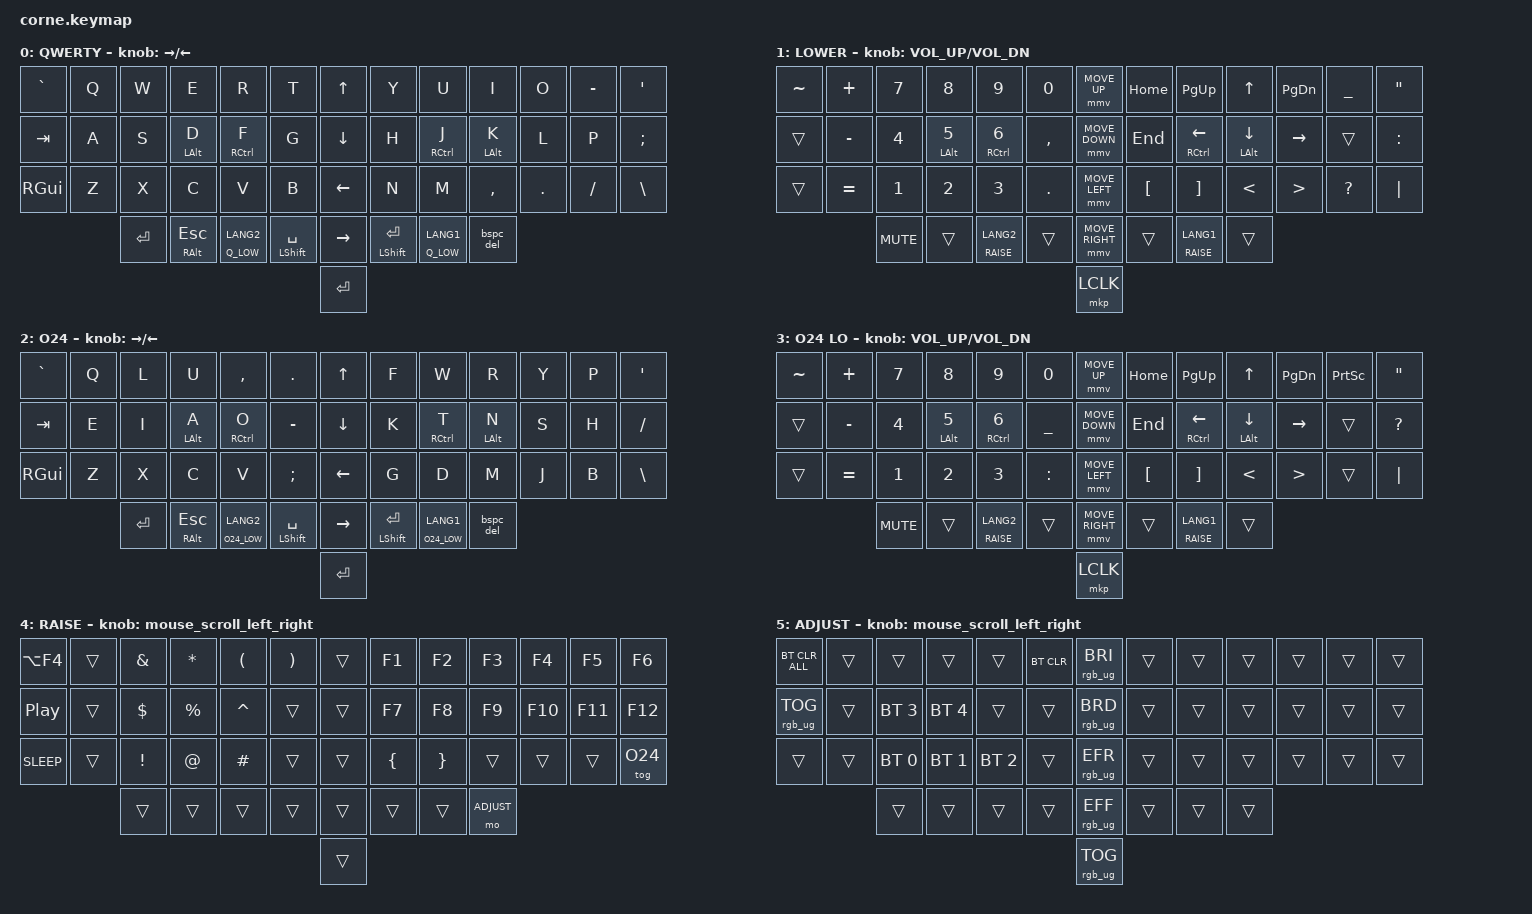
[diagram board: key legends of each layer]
#include <behaviors/mouse_keys.dtsi>
#include <behaviors.dtsi>
#include <dt-bindings/zmk/bt.h>
#include <dt-bindings/zmk/keys.h>
#include <dt-bindings/zmk/pointing.h>
#include <dt-bindings/zmk/pointing.h>
#include <dt-bindings/zmk/pointing.h>
#include <dt-bindings/zmk/rgb.h>

#define ZMK_POINTING_DEFAULT_MOVE_VAL 1500  // default: 600
#define ZMK_POINTING_DEFAULT_SCRL_VAL 20    // default: 10
#define QWERTY  0
#define Q_LOW   1
#define O24     2
#define O24_LOW 3
#define RAISE   4
#define ADJUST  5

&msc {
    time-to-max-speed-ms = <100>;
    acceleration-exponent = <1>;
};

/ {
    behaviors {
        hm: homerow_mods {
            compatible = "zmk,behavior-hold-tap";
            #binding-cells = <2>;
            tapping-term-ms = <180>;
            quick-tap-ms = <180>;
            flavor = "balanced";
            bindings = <&kp>, <&kp>;
        };

        bspc_del: backspace_delete {
            compatible = "zmk,behavior-mod-morph";
            #binding-cells = <0>;
            bindings = <&kp BACKSPACE>, <&kp DELETE>;

            mods = <(MOD_LSFT|MOD_RSFT)>;
        };

        tdquit: tap_dance_quit {
            compatible = "zmk,behavior-tap-dance";
            label = "TD";
            #binding-cells = <0>;
            bindings = <&kp TILDE>, <&kp LA(F4)>;

            tapping-term-ms = <180>;
        };

        mouse_scroll_left_right: mouse_scroll_left_right {
            compatible = "zmk,behavior-sensor-rotate";
            label = "MOUSE_SCROLL_LEFT_RIGHT";
            #sensor-binding-cells = <0>;
            bindings = <&msc SCRL_RIGHT>, <&msc SCRL_LEFT>;
        };

        mouse_scroll_up_down: mouse_scroll_up_down {
            compatible = "zmk,behavior-sensor-rotate";
            label = "MOUSE_SCROLL_UP_DOWN";
            #sensor-binding-cells = <0>;
            bindings = <&msc SCRL_DOWN>, <&msc SCRL_UP>;
        };
    };

    keymap {
        compatible = "zmk,keymap";

        qwerty_layer {
            label = "QWERTY";
            display-name = "QWERTY";
            bindings = <
&kp GRAVE  &kp Q  &kp W       &kp E         &kp R            &kp T               &kp UP_ARROW     &kp Y             &kp U            &kp I       &kp O    &kp MINUS  &kp SQT
&kp TAB    &kp A  &kp S       &hm LALT D    &hm RCTRL F      &kp G               &kp DOWN_ARROW   &kp H             &hm RCTRL J      &hm LALT K  &kp L    &kp P      &kp SEMI
&kp RGUI   &kp Z  &kp X       &kp C         &kp V            &kp B               &kp LEFT_ARROW   &kp N             &kp M            &kp COMMA   &kp DOT  &kp FSLH   &kp BSLH
                  &kp RETURN  &hm RALT ESC  &lt Q_LOW LANG2  &hm LSHIFT SPACE    &kp RIGHT_ARROW  &hm LSHIFT ENTER  &lt Q_LOW LANG1  &bspc_del
                                                                                 &kp ENTER
            >;

            sensor-bindings = <&inc_dec_kp RIGHT LEFT>;
        };

        qwerty_lower_layer {
            label = "LOWER";
            display-name = "LOWER";
            bindings = <
&kp TILDE  &kp PLUS   &kp N7      &kp N8       &kp N9           &kp N0       &mmv MOVE_UP     &kp HOME  &kp PG_UP        &kp UP         &kp PG_DN  &kp UNDER  &kp DQT
&trans     &kp MINUS  &kp N4      &hm LALT N5  &hm RCTRL N6     &kp COMMA    &mmv MOVE_DOWN   &kp END   &hm RCTRL LEFT   &hm LALT DOWN  &kp RIGHT  &trans     &kp COLON
&trans     &kp EQUAL  &kp N1      &kp N2       &kp N3           &kp DOT      &mmv MOVE_LEFT   &kp LBKT  &kp RBKT         &kp LT         &kp GT     &kp QMARK  &kp PIPE
                      &kp C_MUTE  &trans       &lt RAISE LANG2  &trans       &mmv MOVE_RIGHT  &trans    &lt RAISE LANG1  &trans
                                                                             &mkp LCLK
            >;

            sensor-bindings = <&inc_dec_kp C_VOL_UP C_VOL_DN>;
        };

        o24_layer {
            label = "O24";
            display-name = "O24";
            bindings = <
&kp GRAVE  &kp Q  &kp L       &kp U         &kp COMMA          &kp DOT             &kp UP_ARROW     &kp F             &kp W              &kp R       &kp Y  &kp P  &kp SQT
&kp TAB    &kp E  &kp I       &hm LALT A    &hm RCTRL O        &kp MINUS           &kp DOWN_ARROW   &kp K             &hm RCTRL T        &hm LALT N  &kp S  &kp H  &kp FSLH
&kp RGUI   &kp Z  &kp X       &kp C         &kp V              &kp SEMI            &kp LEFT_ARROW   &kp G             &kp D              &kp M       &kp J  &kp B  &kp BSLH
                  &kp RETURN  &hm RALT ESC  &lt O24_LOW LANG2  &hm LSHIFT SPACE    &kp RIGHT_ARROW  &hm LSHIFT ENTER  &lt O24_LOW LANG1  &bspc_del
                                                                                   &kp ENTER
            >;

            sensor-bindings = <&inc_dec_kp RIGHT LEFT>;
        };

        o24_lower_layer {
            label = "O24 LO";
            display-name = "O24 LO";
            bindings = <
&kp TILDE  &kp PLUS   &kp N7      &kp N8       &kp N9           &kp N0       &mmv MOVE_UP     &kp HOME  &kp PG_UP        &kp UP         &kp PG_DN  &kp PSCRN  &kp DQT
&trans     &kp MINUS  &kp N4      &hm LALT N5  &hm RCTRL N6     &kp UNDER    &mmv MOVE_DOWN   &kp END   &hm RCTRL LEFT   &hm LALT DOWN  &kp RIGHT  &trans     &kp QMARK
&trans     &kp EQUAL  &kp N1      &kp N2       &kp N3           &kp COLON    &mmv MOVE_LEFT   &kp LBKT  &kp RBKT         &kp LT         &kp GT     &trans     &kp PIPE
                      &kp C_MUTE  &trans       &lt RAISE LANG2  &trans       &mmv MOVE_RIGHT  &trans    &lt RAISE LANG1  &trans
                                                                             &mkp LCLK
            >;

            sensor-bindings = <&inc_dec_kp C_VOL_UP C_VOL_DN>;
        };

        raise_layer {
            label = "RAISE";
            display-name = "RAISE";
            bindings = <
&kp LA(F4)        &trans  &kp AMPS  &kp ASTRK  &kp LPAR   &kp RPAR    &trans  &kp F1    &kp F2    &kp F3      &kp F4   &kp F5   &kp F6
&kp C_PLAY_PAUSE  &trans  &kp DLLR  &kp PRCNT  &kp CARET  &trans      &trans  &kp F7    &kp F8    &kp F9      &kp F10  &kp F11  &kp F12
&kp C_SLEEP       &trans  &kp EXCL  &kp AT     &kp HASH   &trans      &trans  &kp LBRC  &kp RBRC  &trans      &trans   &trans   &tog O24
                          &trans    &trans     &trans     &trans      &trans  &trans    &trans    &mo ADJUST
                                                                      &trans
            >;

            sensor-bindings = <&mouse_scroll_left_right>;
        };

        adjust_layer {
            label = "ADJUST";
            display-name = "ADJUST";
            bindings = <
&bt BT_CLR_ALL   &trans  &trans        &trans        &trans        &bt BT_CLR    &rgb_ug RGB_BRI  &trans  &trans  &trans  &trans  &trans  &trans
&rgb_ug RGB_TOG  &trans  &bt BT_SEL 3  &bt BT_SEL 4  &trans        &trans        &rgb_ug RGB_BRD  &trans  &trans  &trans  &trans  &trans  &trans
&trans           &trans  &bt BT_SEL 0  &bt BT_SEL 1  &bt BT_SEL 2  &trans        &rgb_ug RGB_EFR  &trans  &trans  &trans  &trans  &trans  &trans
                         &trans        &trans        &trans        &trans        &rgb_ug RGB_EFF  &trans  &trans  &trans
                                                                                 &rgb_ug RGB_TOG
            >;

            sensor-bindings = <&mouse_scroll_left_right>;
        };
    };
};
